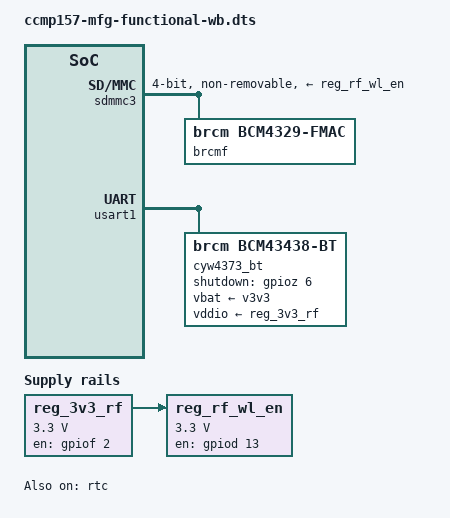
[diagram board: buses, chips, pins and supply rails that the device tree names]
 /*
 * Copyright 2022-2024 Digi International Inc.
 *
 * Permission to use, copy, modify, and/or distribute this software for any
 * purpose with or without fee is hereby granted, provided that the above
 * copyright notice and this permission notice appear in all copies.
 * THE SOFTWARE IS PROVIDED "AS IS" AND THE AUTHOR DISCLAIMS ALL WARRANTIES
 * WITH REGARD TO THIS SOFTWARE INCLUDING ALL IMPLIED WARRANTIES OF
 * MERCHANTABILITY AND FITNESS. IN NO EVENT SHALL THE AUTHOR BE LIABLE FOR
 * ANY SPECIAL, DIRECT, INDIRECT, OR CONSEQUENTIAL DAMAGES OR ANY DAMAGES
 * WHATSOEVER RESULTING FROM LOSS OF USE, DATA OR PROFITS, WHETHER IN AN
 * ACTION OF CONTRACT, NEGLIGENCE OR OTHER TORTIOUS ACTION, ARISING OUT OF
 * OR IN CONNECTION WITH THE USE OR PERFORMANCE OF THIS SOFTWARE.
 */

#include <dt-bindings/rtc/rtc-stm32.h>
/* Digi ConnectCore MP15 non-wireless FCT */
#include "ccmp157-mfg-functional.dts"

/ {
	bluetooth {
		/* U-Boot will fill in the MAC address here */
	};

	wireless {
		/* U-Boot will fill in the MAC address here */
	};

	aliases {
		serial1 = "/soc/serial@5c000000";
	};
};

/* Enable the RF regulator */
&reg_3v3_rf{
	compatible = "regulator-fixed";
	regulator-name = "3v3_rf";
	regulator-min-microvolt = <3300000>;
	regulator-max-microvolt = <3300000>;
	gpio = <&gpiof 2 GPIO_ACTIVE_HIGH>; /* 3V3_RF_EN */
	enable-active-high;
	startup-delay-us = <100000>;
	status = "okay";
};

/* Enable the WL regulator */
&reg_rf_wl_en{
	compatible = "regulator-fixed";
	regulator-name = "rf_wl_en";
	regulator-min-microvolt = <3300000>;
	regulator-max-microvolt = <3300000>;
	gpio = <&gpiod 13 GPIO_ACTIVE_HIGH>; /* WL_EN */
	enable-active-high;
	startup-delay-us = <100>;
	vin-supply = <&reg_3v3_rf>;
	status = "okay";
};

&rtc{
	st,lsco = <RTC_OUT2_RMP>;
	pinctrl-0 = <&ccmp15_rtc_out1_pins_a &rtc_out2_rmp_pins_a>;
	pinctrl-names = "default";
	status = "okay";
};

/* Enable SDMMC3 (Wireless) */
&sdmmc3{
	pinctrl-names = "default", "opendrain", "sleep";
	pinctrl-0 = <&sdmmc3_b4_pins_a>;
	pinctrl-1 = <&sdmmc3_b4_od_pins_a>;
	pinctrl-2 = <&sdmmc3_b4_sleep_pins_a>;
	non-removable;
	no-1-8-v;
	st,neg-edge;
	bus-width = <4>;
	vmmc-supply = <&reg_rf_wl_en>;
	max-frequency = <1000000>;
	status = "okay";

	brcmf {
		compatible = "brcm,bcm4329-fmac";

		brcm,broken_sg_support;
		brcm,sd_head_align = /bits/  16 <8>;
		brcm,sd_sgentry_align = /bits/ 16 <32>;
	};
};

/* Enable USART1 (Bluetooth) */
&usart1{
	pinctrl-names = "default", "sleep";
	pinctrl-0 = <&ccmp15_usart1_pins_c>, <&ccmp15_usart1_pins_z>;
	pinctrl-1 = <&ccmp15_usart1_sleep_pins_c>, <&ccmp15_usart1_sleep_pins_z>;
	uart-has-rtscts;
	status = "okay";

	cyw4373_bt {
		shutdown-gpios = <&gpioz 6 GPIO_ACTIVE_HIGH>;
		compatible = "brcm,bcm43438-bt";
		max-speed = <3000000>;
		vbat-supply = <&v3v3>;
		vddio-supply = <&reg_3v3_rf>;
		status = "okay";
	};
};
